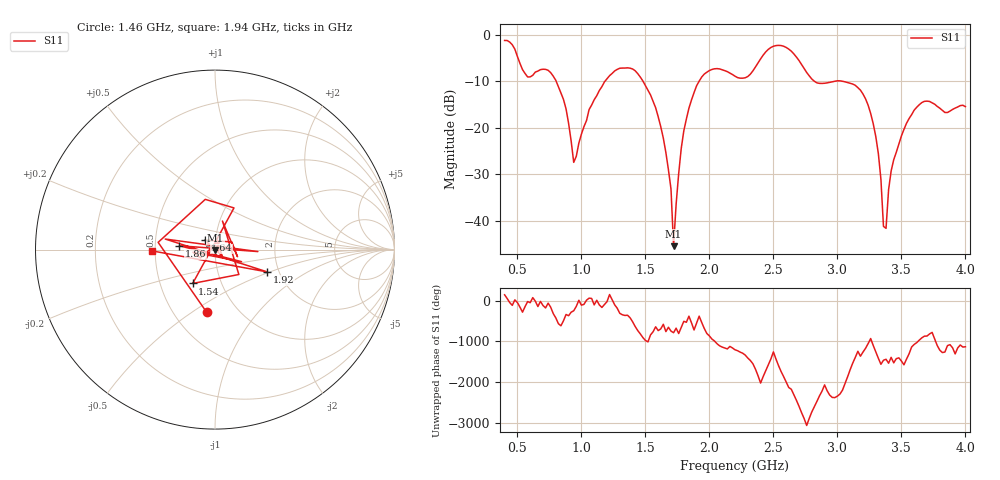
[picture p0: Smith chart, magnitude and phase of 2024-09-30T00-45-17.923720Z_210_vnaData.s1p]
!Created with skrf (http://scikit-rf.org).
# Hz S RI R 50.0
!freq ReS11 ImS11
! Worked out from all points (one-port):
!   181 points, 400 MHz to 4 GHz, reference 50 ohm
!   lowest |S11| = -45.5 dB at 1.72 GHz (marker M1), VSWR 1.01, Z = 50.2 - j0.502 ohm
!   |S11| at or under -10 dB: 803.2 MHz to 1.183 GHz (380.2 MHz wide, 38.3 % of centre); 1.482 GHz to 1.919 GHz (437.5 MHz wide, 25.7 % of centre); 3.043 GHz to end of sweep (the widest 3 of 4)
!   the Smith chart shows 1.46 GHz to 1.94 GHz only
!   S11 on the Smith chart (normalised r, x): 1.46 GHz: 0.72, -0.57; 1.54 GHz: 0.73, -0.29; 1.64 GHz: 0.89, +0.09; 1.86 GHz: 0.67, +0.03; 1.92 GHz: 1.74, -0.48; 1.94 GHz: 0.48, -0.01
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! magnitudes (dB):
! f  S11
! 400 MHz  -1.2
! 760 MHz  -8.1
! 860 MHz  -13.9
! 940 MHz  -27.4
! 1.06 GHz  -16.1
! 1.3 GHz  -7.2
! 1.46 GHz  -9.1
! 1.54 GHz  -12.9
! 1.64 GHz  -22.2
! 1.7 GHz  -33.2
! 1.72 GHz  -45.5
! 1.76 GHz  -29.9
! 1.86 GHz  -14.0
! 1.92 GHz  -10.0
! 1.94 GHz  -9.1
! 2.2 GHz  -8.9
! 2.5 GHz  -2.5
! 2.66 GHz  -4.1
! 2.84 GHz  -10.3
! 3.1 GHz  -10.4
! 3.28 GHz  -19.1
! 3.34 GHz  -31.1
! 3.36 GHz  -41.2
! 3.38 GHz  -41.6
! 3.42 GHz  -29.3
! 3.56 GHz  -18.0
! 3.68 GHz  -14.3
! 4 GHz  -15.4
